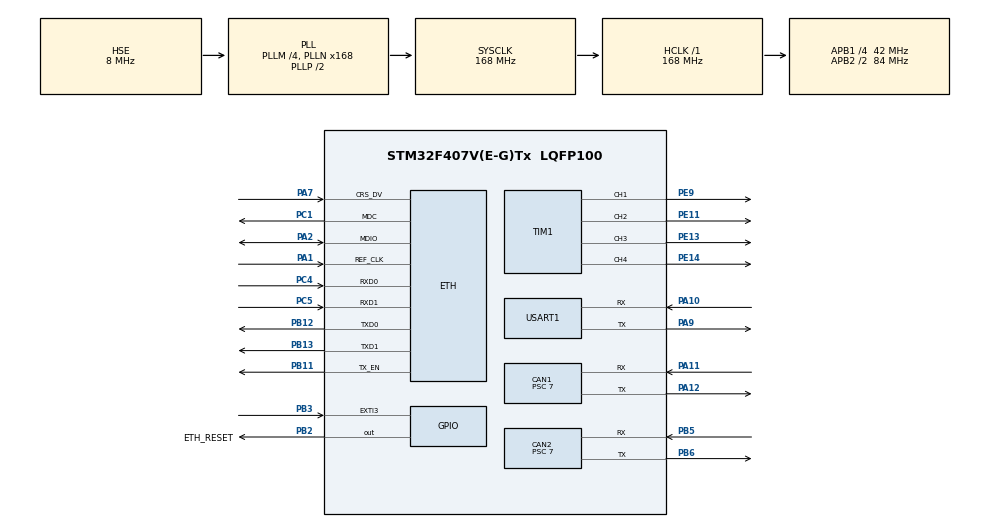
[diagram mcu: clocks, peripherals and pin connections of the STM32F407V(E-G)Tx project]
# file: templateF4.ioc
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CAN1.ABOM=ENABLE
CAN1.BS1=CAN_BS1_4TQ
CAN1.BS2=CAN_BS2_1TQ
CAN1.CalculateBaudRate=999999
CAN1.CalculateTimeBit=1000
CAN1.CalculateTimeQuantum=166.66666666666669
CAN1.Prescaler=7
CAN2.ABOM=ENABLE
CAN2.BS1=CAN_BS1_4TQ
CAN2.CalculateBaudRate=999999
CAN2.CalculateTimeBit=1000
CAN2.CalculateTimeQuantum=166.66666666666669
CAN2.Prescaler=7
ETH.MediaInterface=HAL_ETH_RMII_MODE
ETH.RxBuffLen=1536
LWIP.BSP.number=1
LWIP.GATEWAY_ADDRESS=192.168.001.010
LWIP.IP_ADDRESS=192.168.001.100
LWIP.LWIP_DHCP=0
LWIP.NETMASK_ADDRESS=255.255.255.000
LWIP.Version=v2.1.2_Cube
LWIP0.BSP.STBoard=false
LWIP0.BSP.api=BSP_COMPONENT_DRIVER
LWIP0.BSP.component=LAN8742
LWIP0.BSP.instance=LAN8742
LWIP0.BSP.name=Driver_PHY
LWIP0.BSP.semaphore=S_LAN8742
LWIP0.BSP.solution=LAN8742
Mcu.Family=STM32F4
Mcu.Name=STM32F407V(E-G)Tx
Mcu.Package=LQFP100
NVIC.CAN1_RX0_IRQn=true\:0\:0\:false\:false\:true\:true\:true\:true
NVIC.CAN2_RX0_IRQn=true\:0\:0\:false\:false\:true\:true\:true\:true
NVIC.ETH_IRQn=true\:0\:0\:false\:false\:true\:true\:true\:true
NVIC.EXTI3_IRQn=true\:0\:0\:false\:false\:true\:true\:true\:true
NVIC.PriorityGroup=NVIC_PRIORITYGROUP_4
NVIC.TIM1_CC_IRQn=true\:0\:0\:false\:false\:true\:true\:true\:true
NVIC.TIM4_IRQn=true\:0\:0\:false\:false\:true\:true\:true\:true
NVIC.USART1_IRQn=true\:1\:0\:true\:false\:true\:true\:true\:true
PA1.Mode=RMII
PA1.Signal=ETH_REF_CLK
PA10.Mode=Asynchronous
PA10.Signal=USART1_RX
PA11.Mode=CAN_Activate
PA11.Signal=CAN1_RX
PA12.Mode=CAN_Activate
PA12.Signal=CAN1_TX
PA13.Mode=Serial_Wire
PA13.Signal=SYS_JTMS-SWDIO
PA14.Mode=Serial_Wire
PA14.Signal=SYS_JTCK-SWCLK
PA2.Mode=RMII
PA2.Signal=ETH_MDIO
PA7.Mode=RMII
PA7.Signal=ETH_CRS_DV
PA9.Mode=Asynchronous
PA9.Signal=USART1_TX
PB11.Mode=RMII
PB11.Signal=ETH_TX_EN
PB12.Mode=RMII
PB12.Signal=ETH_TXD0
PB13.Mode=RMII
PB13.Signal=ETH_TXD1
PB2.GPIO_Label=ETH_RESET
PB2.GPIO_ModeDefaultOutputPP=GPIO_MODE_OUTPUT_PP
PB2.GPIO_PuPd=GPIO_PULLUP
PB2.GPIO_Speed=GPIO_SPEED_FREQ_HIGH
PB2.PinState=GPIO_PIN_SET
PB2.Signal=GPIO_Output
PB3.GPIO_PuPd=GPIO_PULLDOWN
PB3.Signal=GPXTI3
PB5.Mode=CAN_Activate
PB5.Signal=CAN2_RX
PB6.Mode=CAN_Activate
PB6.Signal=CAN2_TX
PC1.Mode=RMII
PC1.Signal=ETH_MDC
PC4.Mode=RMII
PC4.Signal=ETH_RXD0
PC5.Mode=RMII
PC5.Signal=ETH_RXD1
PE11.GPIO_Speed=GPIO_SPEED_FREQ_VERY_HIGH
PE11.Signal=S_TIM1_CH2
PE13.GPIO_Speed=GPIO_SPEED_FREQ_VERY_HIGH
PE13.Signal=S_TIM1_CH3
PE14.GPIO_Speed=GPIO_SPEED_FREQ_VERY_HIGH
PE14.Signal=S_TIM1_CH4
PE9.GPIO_Speed=GPIO_SPEED_FREQ_VERY_HIGH
PE9.Signal=S_TIM1_CH1
PH0-OSC_IN.Mode=HSE-External-Oscillator
PH0-OSC_IN.Signal=RCC_OSC_IN
PH1-OSC_OUT.Mode=HSE-External-Oscillator
PH1-OSC_OUT.Signal=RCC_OSC_OUT
ProjectManager.HeapSize=0x200
ProjectManager.StackSize=0x400
ProjectManager.TargetToolchain=Makefile
RCC.48MHZClocksFreq_Value=84000000
RCC.AHBFreq_Value=168000000
RCC.APB1CLKDivider=RCC_HCLK_DIV4
RCC.APB1Freq_Value=42000000
RCC.APB1TimFreq_Value=84000000
RCC.APB2CLKDivider=RCC_HCLK_DIV2
RCC.APB2Freq_Value=84000000
RCC.APB2TimFreq_Value=168000000
RCC.CortexFreq_Value=168000000
RCC.HCLKFreq_Value=168000000
RCC.HSE_VALUE=8000000
RCC.HSI_VALUE=16000000
RCC.LSE_VALUE=32768
RCC.PLLM=4
RCC.PLLN=168
RCC.PLLSourceVirtual=RCC_PLLSOURCE_HSE
RCC.SYSCLKFreq_VALUE=168000000
RCC.SYSCLKSource=RCC_SYSCLKSOURCE_PLLCLK
RCC.VCOOutputFreq_Value=336000000
SH.S_TIM1_CH1.0=TIM1_CH1,Output Compare1 CH1
SH.S_TIM1_CH2.0=TIM1_CH2,Output Compare2 CH2
SH.S_TIM1_CH3.0=TIM1_CH3,Output Compare3 CH3
SH.S_TIM1_CH4.0=TIM1_CH4,Output Compare4 CH4
TIM1.Channel-Output\ Compare1\ CH1=TIM_CHANNEL_1
TIM1.Channel-Output\ Compare2\ CH2=TIM_CHANNEL_2
TIM1.Channel-Output\ Compare3\ CH3=TIM_CHANNEL_3
TIM1.Channel-Output\ Compare4\ CH4=TIM_CHANNEL_4
TIM1.OCMode_1=TIM_OCMODE_TOGGLE
TIM1.OCMode_2=TIM_OCMODE_TOGGLE
TIM1.OCMode_3=TIM_OCMODE_TOGGLE
TIM1.OCMode_4=TIM_OCMODE_TOGGLE
TIM4.Period=999
TIM4.Prescaler=83
USART1.VirtualMode=VM_ASYNC
VP_LWIP_VS_Enabled.Mode=Enabled
VP_TIM1_VS_ClockSourceINT.Mode=Internal
VP_TIM4_VS_ClockSourceINT.Mode=Internal
board=custom

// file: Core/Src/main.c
/* USER CODE BEGIN Header */
/**
 ******************************************************************************
 * @file           : main.c
 * @brief          : Main program body
 ******************************************************************************
 * @attention
 *
 * Copyright (c) 2025 STMicroelectronics.
 * All rights reserved.
 *
 * This software is licensed under terms that can be found in the LICENSE file
 * in the root directory of this software component.
 * If no LICENSE file comes with this software, it is provided AS-IS.
 *
 ******************************************************************************
 */
/* USER CODE END Header */
#include "main.h"
#include "can.h"
#include "lwip.h"
#include "tim.h"
#include "usart.h"
#include "gpio.h"

/* USER CODE BEGIN Includes */
#include <string.h>
#include "ZDT_X42_V2.h"
#include "HT_DM_S_7010.h"
#include "LK_Motor.h"
#include "XYR_Control.h"
#include "udp_app.h"

/* USER CODE END Includes */

void SystemClock_Config(void);

/* USER CODE BEGIN 0 */
float Tim4Send_freq = 0.f;
static volatile int usartTest = 0;

/* USER CODE END 0 */

int main(void)
{

  /* MCU Configuration--------------------------------------------------------*/

  /* Reset of all peripherals, Initializes the Flash interface and the Systick. */
  HAL_Init();

  /* Configure the system clock */
  SystemClock_Config();

  /* USER CODE BEGIN SysInit */
  TIM1_ClockInit_Cache();
  /* USER CODE END SysInit */

  /* Initialize all configured peripherals */
  MX_GPIO_Init();
  MX_CAN1_Init();
  MX_TIM1_Init();
  MX_CAN2_Init();
  MX_TIM4_Init();
  MX_USART1_UART_Init();
  MX_LWIP_Init();
  /* USER CODE BEGIN 2 */
  UDP_App_Init();
  USER_CAN1_Filter_Init();
  USER_CAN2_Filter_Init(); // 初始化CAN滤波器
  /* 不再在此处阻塞启动 CAN；改为后台重试策略，初始化重试时间戳，周期任务会尝试启动 */
  CAN_InitRetryTimers();
  XYR_Init(); // XYR位移台初始化

  HAL_TIM_Base_Start_IT(&htim4);

  // HAL_Delay(2000);

  double delays_us[4] = {1, 1, 1, 1}; /* 2us */
  double widths_us[4] = {50.0, 25.0, 20.0, 35.0};

  start_4_one_shot(delays_us, widths_us);
  /* USER CODE END 2 */

  /* Infinite loop */
  /* USER CODE BEGIN WHILE */

  while (1)
  {
    MX_LWIP_Process();
    /* USER CODE END WHILE */

    /* USER CODE BEGIN 3 */

    XYR_AutoScan_Update();

    XYR_Read_USB_Commend();

    if (USB_Send_Flag)
    {
      USB_Send_Flag = false;
      XYR_Send_USB_Commend();
    }

    XYR_MotorState_Update(1);
    XYR_MotorState_Update(2);
    XYR_MotorState_Update(3);
  }
  /* USER CODE END 3 */
}

void SystemClock_Config(void)
{
  RCC_OscInitTypeDef RCC_OscInitStruct = {0};
  RCC_ClkInitTypeDef RCC_ClkInitStruct = {0};

  /** Configure the main internal regulator output voltage
   */
  __HAL_RCC_PWR_CLK_ENABLE();
  __HAL_PWR_VOLTAGESCALING_CONFIG(PWR_REGULATOR_VOLTAGE_SCALE1);

  /** Initializes the RCC Oscillators according to the specified parameters
   * in the RCC_OscInitTypeDef structure.
   */
  RCC_OscInitStruct.OscillatorType = RCC_OSCILLATORTYPE_HSE;
  RCC_OscInitStruct.HSEState = RCC_HSE_ON;
  RCC_OscInitStruct.PLL.PLLState = RCC_PLL_ON;
  RCC_OscInitStruct.PLL.PLLSource = RCC_PLLSOURCE_HSE;
  RCC_OscInitStruct.PLL.PLLM = 4;
  RCC_OscInitStruct.PLL.PLLN = 168;
  RCC_OscInitStruct.PLL.PLLP = RCC_PLLP_DIV2;
  RCC_OscInitStruct.PLL.PLLQ = 4;
  if (HAL_RCC_OscConfig(&RCC_OscInitStruct) != HAL_OK)
  {
    Error_Handler();
  }

  /** Initializes the CPU, AHB and APB buses clocks
   */
  RCC_ClkInitStruct.ClockType = RCC_CLOCKTYPE_HCLK | RCC_CLOCKTYPE_SYSCLK | RCC_CLOCKTYPE_PCLK1 | RCC_CLOCKTYPE_PCLK2;
  RCC_ClkInitStruct.SYSCLKSource = RCC_SYSCLKSOURCE_PLLCLK;
  RCC_ClkInitStruct.AHBCLKDivider = RCC_SYSCLK_DIV1;
  RCC_ClkInitStruct.APB1CLKDivider = RCC_HCLK_DIV4;
  RCC_ClkInitStruct.APB2CLKDivider = RCC_HCLK_DIV2;

  if (HAL_RCC_ClockConfig(&RCC_ClkInitStruct, FLASH_LATENCY_5) != HAL_OK)
  {
    Error_Handler();
  }
}

/* USER CODE BEGIN 4 */
void HAL_TIM_PeriodElapsedCallback(TIM_HandleTypeDef *htim)
{
  if (htim->Instance == TIM4)
  {
    static volatile uint32_t preTick_Tim4 = 0;
    Controller_Update_Callback();
    uint32_t currTick_Tim4 = HAL_GetTick();
    Tim4Send_freq = 1000.f / (currTick_Tim4 - preTick_Tim4);
    preTick_Tim4 = currTick_Tim4;
    /* 周期性尝试恢复/启动 CAN（非阻塞） */
    CAN_TryStartAll();
  }
}

void HAL_UART_RxCpltCallback(UART_HandleTypeDef *huart)
{
  if (huart->Instance == USART1)
  {
    xyr_request = rx_buffer[0]; // 命令头是第一个字节

    memcpy(process_buffer, rx_buffer, 5);

    memset(rx_buffer, 0, 5);

    HAL_UART_Receive_IT(huart, rx_buffer, 5);
  }
}

void HAL_GPIO_EXTI_Callback(uint16_t GPIO_Pin)
{
  if (GPIO_Pin == GPIO_PIN_3)
  {
    // 处理外部中断事件
    g_auto_scan.Pluse_Rev_flag = true;
  }
}

/* USER CODE END 4 */

void Error_Handler(void)
{
  __disable_irq();
  while (1)
  {
  }
}
